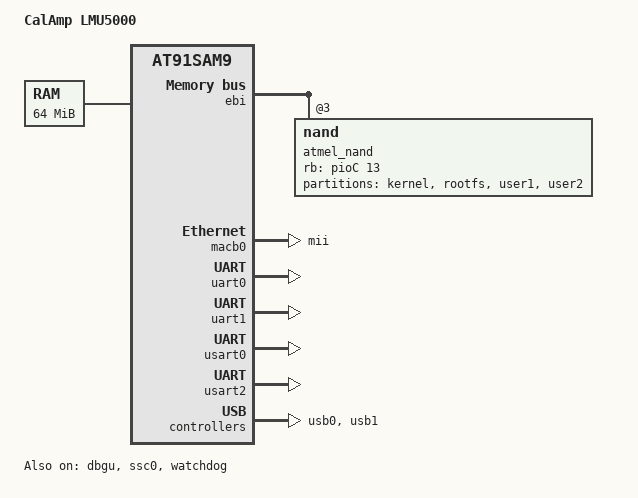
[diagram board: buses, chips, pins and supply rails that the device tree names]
// SPDX-License-Identifier: GPL-2.0-only
/*
 * Device Tree file for CalAmp LMU5000 board
 *
 * Copyright (C) 2013 Adam Porter <porter.adam@gmail.com>
 */

/dts-v1/;
#include "at91sam9g20.dtsi"

/ {
	model = "CalAmp LMU5000";
	compatible = "calamp,lmu5000", "atmel,at91sam9g20", "atmel,at91sam9";

	chosen {
		bootargs = "mem=64M console=ttyS0,115200 rootfstype=jffs2";
	};

	memory {
		reg = <0x20000000 0x4000000>;
	};

	clocks {
		#address-cells = <1>;
		#size-cells = <1>;
		ranges;

		main_clock: clock@0 {
			compatible = "atmel,osc", "fixed-clock";
			clock-frequency = <18432000>;
		};
	};
};

&dbgu {
	status = "okay";
};

&ebi {
	status = "okay";

	nand_controller: nand-controller {
		pinctrl-0 = <&pinctrl_nand_cs &pinctrl_nand_rb>;
		pinctrl-names = "default";
		status = "okay";

		nand@3 {
			reg = <0x3 0x0 0x800000>;
			rb-gpios = <&pioC 13 GPIO_ACTIVE_HIGH>;
			cs-gpios = <&pioC 14 GPIO_ACTIVE_HIGH>;
			nand-bus-width = <8>;
			nand-ecc-mode = "soft";
			nand-on-flash-bbt;
			label = "atmel_nand";
			status = "okay";

			partitions {
				compatible = "fixed-partitions";
				#address-cells = <1>;
				#size-cells = <1>;

				kernel@0 {
					label = "kernel";
					reg = <0x0 0x400000>;
				};

				rootfs@400000 {
					label = "rootfs";
					reg = <0x400000 0x3C00000>;
				};

				user1@4000000 {
					label = "user1";
					reg = <0x4000000 0x2000000>;
				};

				user2@6000000 {
					label = "user2";
					reg = <0x6000000 0x2000000>;
				};
			};
		};
	};
};

&macb0 {
	phy-mode = "mii";
	status = "okay";
};

&pinctrl {
	board {
		pinctrl_pck0_as_mck: pck0_as_mck {
			atmel,pins = <AT91_PIOC 1 AT91_PERIPH_B AT91_PINCTRL_NONE>;
		};
	};

	usb0 {
		pinctrl_usb1_vbus_gpio: usb0_vbus_gpio {
			atmel,pins = <AT91_PIOC 5 AT91_PERIPH_GPIO AT91_PINCTRL_NONE>;
		};
	};
};

&ssc0 {
	status = "okay";
	pinctrl-0 = <&pinctrl_ssc0_tx>;
};

&uart0 {
	status = "okay";
};

&uart1 {
	status = "okay";
};

&usart0 {
	pinctrl-0 =
		<&pinctrl_usart0
		 &pinctrl_usart0_rts
		 &pinctrl_usart0_cts
		 &pinctrl_usart0_dtr_dsr
		 &pinctrl_usart0_dcd
		 &pinctrl_usart0_ri>;
	status = "okay";
};

&usart2 {
	status = "okay";
};

&usb0 {
	num-ports = <2>;
	status = "okay";
};

&usb1 {
	pinctrl-names = "default";
	pinctrl-0 = <&pinctrl_usb1_vbus_gpio>;
	atmel,vbus-gpio = <&pioC 5 GPIO_ACTIVE_HIGH>;
	status = "okay";
};

&watchdog {
	status = "okay";
};
